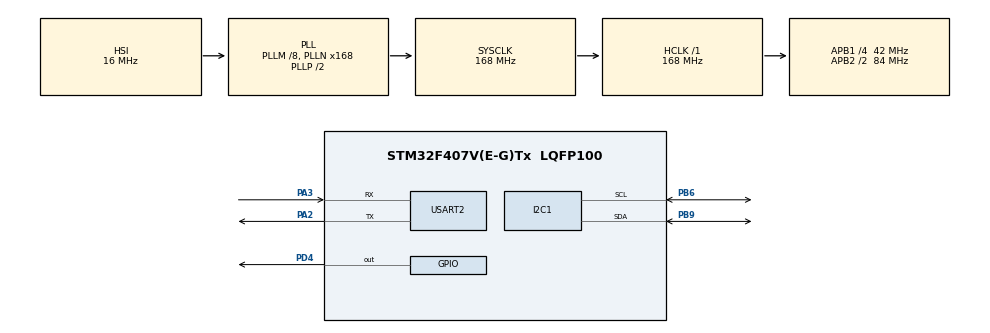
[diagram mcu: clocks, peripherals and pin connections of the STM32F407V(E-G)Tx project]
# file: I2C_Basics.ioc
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Mcu.Family=STM32F4
Mcu.Name=STM32F407V(E-G)Tx
Mcu.Package=LQFP100
NVIC.PriorityGroup=NVIC_PRIORITYGROUP_4
PA2.Mode=Asynchronous
PA2.Signal=USART2_TX
PA3.Mode=Asynchronous
PA3.Signal=USART2_RX
PB6.Mode=I2C
PB6.Signal=I2C1_SCL
PB9.Mode=I2C
PB9.Signal=I2C1_SDA
PD4.Signal=GPIO_Output
ProjectManager.HeapSize=0x200
ProjectManager.StackSize=0x400
ProjectManager.TargetToolchain=STM32CubeIDE
RCC.48MHZClocksFreq_Value=84000000
RCC.AHBFreq_Value=168000000
RCC.APB1CLKDivider=RCC_HCLK_DIV4
RCC.APB1Freq_Value=42000000
RCC.APB1TimFreq_Value=84000000
RCC.APB2CLKDivider=RCC_HCLK_DIV2
RCC.APB2Freq_Value=84000000
RCC.APB2TimFreq_Value=168000000
RCC.CortexFreq_Value=168000000
RCC.HCLKFreq_Value=168000000
RCC.HSE_VALUE=25000000
RCC.HSI_VALUE=16000000
RCC.LSE_VALUE=32768
RCC.PLLM=8
RCC.PLLN=168
RCC.SYSCLKFreq_VALUE=168000000
RCC.SYSCLKSource=RCC_SYSCLKSOURCE_PLLCLK
RCC.VCOOutputFreq_Value=336000000
USART2.VirtualMode=VM_ASYNC
board=custom

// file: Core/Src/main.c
/* USER CODE BEGIN Header */
/**
  ******************************************************************************
  * @file           : main.c
  * @brief          : Main program body
  ******************************************************************************
  * @attention
  *
  * Copyright (c) 2026 STMicroelectronics.
  * All rights reserved.
  *
  * This software is licensed under terms that can be found in the LICENSE file
  * in the root directory of this software component.
  * If no LICENSE file comes with this software, it is provided AS-IS.
  *
  ******************************************************************************
  */
/* USER CODE END Header */
#include "main.h"

/* USER CODE BEGIN Includes */
#include <stdio.h>
/* USER CODE END Includes */

I2C_HandleTypeDef hi2c1;

UART_HandleTypeDef huart2;

void SystemClock_Config(void);
static void MX_GPIO_Init(void);
static void MX_I2C1_Init(void);
static void MX_USART2_UART_Init(void);

/* USER CODE BEGIN 0 */
int _write(int file, char *ptr, int len)
{
    HAL_UART_Transmit(&huart2, (uint8_t*)ptr, len, HAL_MAX_DELAY);
    return len;
}
/* USER CODE END 0 */

int main(void)
{

  /* MCU Configuration--------------------------------------------------------*/

  /* Reset of all peripherals, Initializes the Flash interface and the Systick. */
  HAL_Init();

  /* Configure the system clock */
  SystemClock_Config();

  /* Initialize all configured peripherals */
  MX_GPIO_Init();
  MX_I2C1_Init();
  MX_USART2_UART_Init();
  /* USER CODE BEGIN 2 */
  HAL_GPIO_WritePin(GPIOD, GPIO_PIN_4, GPIO_PIN_SET);
  HAL_Delay(10);
  printf("I2C Bus scan...\r\n");

  for(uint8_t addr = 1; addr < 128; addr++)
  {
	  if (HAL_I2C_IsDeviceReady(&hi2c1, addr <<1 , 1, 10) == HAL_OK)
	  {
		  printf("Device found at 0x%02X\r\n", addr);
	  }
  }

  printf("Scan complete.\r\n");

/*  uint8_t chipID = 0;
  HAL_I2C_Mem_Read(&hi2c1, 0x94, 0x01, I2C_MEMADD_SIZE_8BIT, &chipID, 1, HAL_MAX_DELAY);

  printf("Chip ID: 0x%02X\r\n", chipID);*/

  uint8_t writeVal = 0x9E;  // Power Up value from datasheet (1001 1110)
  uint8_t readBack = 0;

  // Write 0x9E to register 0x02 (Power Ctl 1) to power up audio circuits
  HAL_I2C_Mem_Write(
      &hi2c1,                // I2C1 peripheral
      0x94,                  // CS43L22 address (0x4A << 1)
      0x02,                  // Register address (Power Ctl 1)
      I2C_MEMADD_SIZE_8BIT,  // Register address is 8-bit wide
      &writeVal,             // Pointer to data to write
      1,                     // Number of bytes to write
      HAL_MAX_DELAY          // Wait as long as needed
  );

  // Read back register 0x02 to verify write succeeded
  HAL_I2C_Mem_Read(
      &hi2c1,                // I2C1 peripheral
      0x94,                  // CS43L22 address (0x4A << 1)
      0x02,                  // Register address (Power Ctl 1)
      I2C_MEMADD_SIZE_8BIT,  // Register address is 8-bit wide
      &readBack,             // Pointer to store data read back
      1,                     // Number of bytes to read
      HAL_MAX_DELAY          // Wait as long as needed
  );

  printf("Power Ctl 1: 0x%02X\r\n", readBack);

  /* USER CODE END 2 */

  /* Infinite loop */
  while (1)
  {

    /* USER CODE BEGIN 3 */
	  uint8_t chipID = 0;
	     HAL_I2C_Mem_Read(&hi2c1, 0x94, 0x01, I2C_MEMADD_SIZE_8BIT, &chipID, 1, HAL_MAX_DELAY);
	     printf("Chip ID: 0x%02X\r\n", chipID);
	     HAL_Delay(500);
  }
  /* USER CODE END 3 */
}

void SystemClock_Config(void)
{
  RCC_OscInitTypeDef RCC_OscInitStruct = {0};
  RCC_ClkInitTypeDef RCC_ClkInitStruct = {0};

  /** Configure the main internal regulator output voltage
  */
  __HAL_RCC_PWR_CLK_ENABLE();
  __HAL_PWR_VOLTAGESCALING_CONFIG(PWR_REGULATOR_VOLTAGE_SCALE1);

  /** Initializes the RCC Oscillators according to the specified parameters
  * in the RCC_OscInitTypeDef structure.
  */
  RCC_OscInitStruct.OscillatorType = RCC_OSCILLATORTYPE_HSI;
  RCC_OscInitStruct.HSIState = RCC_HSI_ON;
  RCC_OscInitStruct.HSICalibrationValue = RCC_HSICALIBRATION_DEFAULT;
  RCC_OscInitStruct.PLL.PLLState = RCC_PLL_ON;
  RCC_OscInitStruct.PLL.PLLSource = RCC_PLLSOURCE_HSI;
  RCC_OscInitStruct.PLL.PLLM = 8;
  RCC_OscInitStruct.PLL.PLLN = 168;
  RCC_OscInitStruct.PLL.PLLP = RCC_PLLP_DIV2;
  RCC_OscInitStruct.PLL.PLLQ = 4;
  if (HAL_RCC_OscConfig(&RCC_OscInitStruct) != HAL_OK)
  {
    Error_Handler();
  }

  /** Initializes the CPU, AHB and APB buses clocks
  */
  RCC_ClkInitStruct.ClockType = RCC_CLOCKTYPE_HCLK|RCC_CLOCKTYPE_SYSCLK
                              |RCC_CLOCKTYPE_PCLK1|RCC_CLOCKTYPE_PCLK2;
  RCC_ClkInitStruct.SYSCLKSource = RCC_SYSCLKSOURCE_PLLCLK;
  RCC_ClkInitStruct.AHBCLKDivider = RCC_SYSCLK_DIV1;
  RCC_ClkInitStruct.APB1CLKDivider = RCC_HCLK_DIV4;
  RCC_ClkInitStruct.APB2CLKDivider = RCC_HCLK_DIV2;

  if (HAL_RCC_ClockConfig(&RCC_ClkInitStruct, FLASH_LATENCY_5) != HAL_OK)
  {
    Error_Handler();
  }
}

static void MX_I2C1_Init(void)
{

  hi2c1.Instance = I2C1;
  hi2c1.Init.ClockSpeed = 100000;
  hi2c1.Init.DutyCycle = I2C_DUTYCYCLE_2;
  hi2c1.Init.OwnAddress1 = 0;
  hi2c1.Init.AddressingMode = I2C_ADDRESSINGMODE_7BIT;
  hi2c1.Init.DualAddressMode = I2C_DUALADDRESS_DISABLE;
  hi2c1.Init.OwnAddress2 = 0;
  hi2c1.Init.GeneralCallMode = I2C_GENERALCALL_DISABLE;
  hi2c1.Init.NoStretchMode = I2C_NOSTRETCH_DISABLE;
  if (HAL_I2C_Init(&hi2c1) != HAL_OK)
  {
    Error_Handler();
  }

}

static void MX_USART2_UART_Init(void)
{

  huart2.Instance = USART2;
  huart2.Init.BaudRate = 115200;
  huart2.Init.WordLength = UART_WORDLENGTH_8B;
  huart2.Init.StopBits = UART_STOPBITS_1;
  huart2.Init.Parity = UART_PARITY_NONE;
  huart2.Init.Mode = UART_MODE_TX_RX;
  huart2.Init.HwFlowCtl = UART_HWCONTROL_NONE;
  huart2.Init.OverSampling = UART_OVERSAMPLING_16;
  if (HAL_UART_Init(&huart2) != HAL_OK)
  {
    Error_Handler();
  }

}

static void MX_GPIO_Init(void)
{
  GPIO_InitTypeDef GPIO_InitStruct = {0};

  /* GPIO Ports Clock Enable */
  __HAL_RCC_GPIOA_CLK_ENABLE();
  __HAL_RCC_GPIOD_CLK_ENABLE();
  __HAL_RCC_GPIOB_CLK_ENABLE();

  /*Configure GPIO pin Output Level */
  HAL_GPIO_WritePin(GPIOD, GPIO_PIN_4, GPIO_PIN_RESET);

  /*Configure GPIO pin : PD4 */
  GPIO_InitStruct.Pin = GPIO_PIN_4;
  GPIO_InitStruct.Mode = GPIO_MODE_OUTPUT_PP;
  GPIO_InitStruct.Pull = GPIO_NOPULL;
  GPIO_InitStruct.Speed = GPIO_SPEED_FREQ_LOW;
  HAL_GPIO_Init(GPIOD, &GPIO_InitStruct);

}

void Error_Handler(void)
{
  __disable_irq();
  while (1)
  {
  }
}
